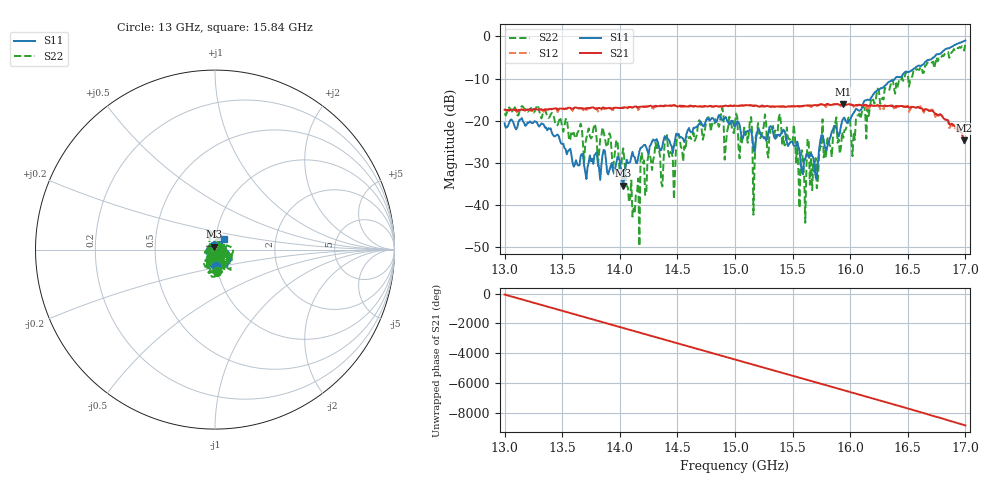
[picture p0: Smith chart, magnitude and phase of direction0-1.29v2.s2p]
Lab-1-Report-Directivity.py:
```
import numpy as np
import matplotlib.pyplot as plt
import skrf as rf
from friis import *


def PlotDirectivity(S21, f, r):
    c = 3e8
    # G = getG(S21, f , r)
    # A = Aeff(f,G)
    # D = ((np.pi*4*(r**2))/A) * abs(S21)**2
    #
    wavelength = c/f
    D = (4*np.pi*r/wavelength)*abs(S21)

    plt.figure(figsize=(8, 6))
    plt.rcParams['font.size'] = 16
    plt.plot(f/1e9, 10*np.log10(D))
    plt.xlabel('Frequency (GHz)', fontsize=15)
    plt.ylabel('Directivity (dB)', fontsize=15)
    # plt.ylim(-40,2)
    # plt.legend()
    # plt.ylim(17, 21.5)
    plt.yticks([17,18,19,20,21], fontsize=15)

    plt.grid(True)
    plt.tick_params(axis='both', labelsize=15)
    plt.tight_layout()
    plt.savefig('Directivity.svg')
    plt.show()
    return
if __name__ == "__main__":

    S = rf.Network('../Data2/direction0-1.29v2.s2p')

    S21 = S.s21.s.squeeze()
    fRange = S.frequency.f.squeeze()

    PlotDirectivity(S21, fRange, 1.29)
```
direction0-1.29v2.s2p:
!Keysight Technologies,P9374A,MY57211810,A.19.30.04
!Date: Friday, May 02, 2025 10:35:46
!Correction: S11(C* 2-Port  )
!S21(C* 2-Port  )
!S12(C* 2-Port  )
!S22(C* 2-Port  )
!S2P File: Measurements: S11, S21, S12, S22:
# Hz S  dB  R 50
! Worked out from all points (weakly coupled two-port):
!   401 points, 13 GHz to 17 GHz, reference 50 ohm
!   highest |S21| = -16.01 dB at 15.94 GHz (marker M1); lowest = -24.7 dB at 16.99 GHz (marker M2)
!   lowest |S11| = -35.4 dB at 14.03 GHz (marker M3), VSWR 1.03, Z = 49.3 + j1.54 ohm
!   |S11| at or under -10 dB: start of sweep to 16.39 GHz
!   |S22| runs from -49.7 to -1.7 dB; largest |S21 - S12| = 0.018
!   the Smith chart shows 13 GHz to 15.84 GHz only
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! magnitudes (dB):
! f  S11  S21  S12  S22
! 13 GHz  -20.6  -17.4  -17.3  -18.2
! 14.03 GHz  -35.4  -17.0  -16.8  -26.5
! 14.15 GHz  -30.1  -16.8  -16.7  -36.7
! 14.32 GHz  -24.4  -16.5  -16.6  -27.0
! 15 GHz  -21.5  -16.4  -16.5  -20.4
! 15.17 GHz  -27.3  -16.5  -16.4  -30.3
! 15.38 GHz  -23.2  -16.7  -16.6  -19.2
! 15.7 GHz  -33.4  -16.3  -16.4  -28.8
! 15.94 GHz  -19.5  -16.0  -16.2  -24.0
! 16.99 GHz  -1.1  -24.7  -25.4  -3.4
! 17 GHz  -1.0  -24.2  -24.3  -1.7
